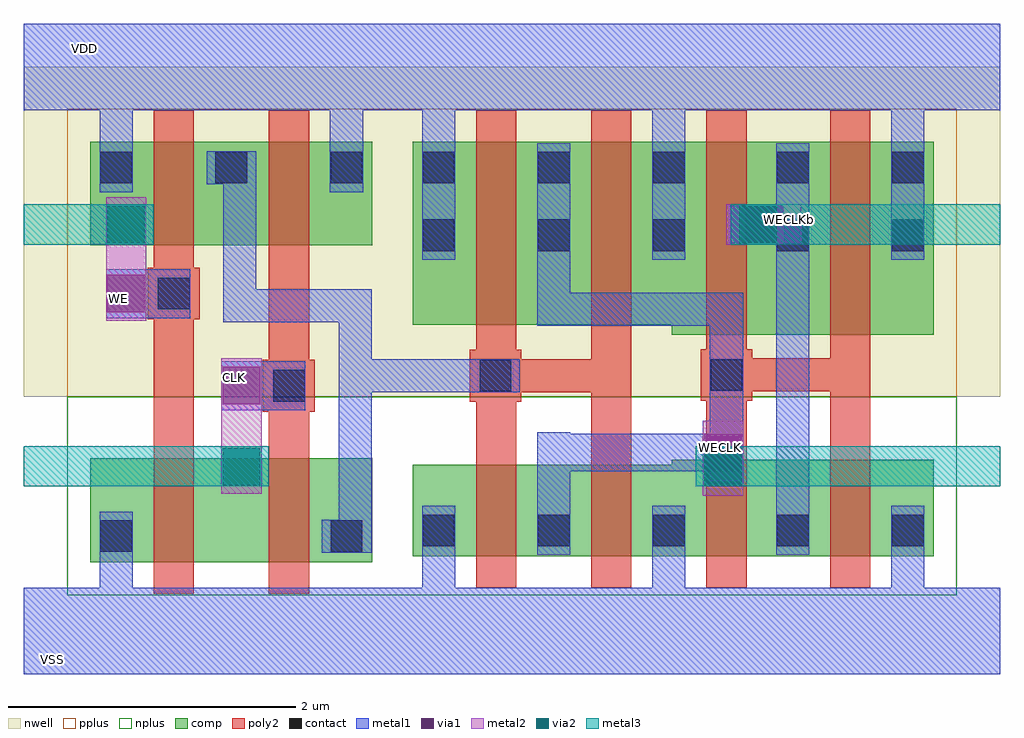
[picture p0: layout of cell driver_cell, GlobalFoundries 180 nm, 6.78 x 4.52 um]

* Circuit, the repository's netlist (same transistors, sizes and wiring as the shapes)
* Extracted by KLayout with GF180MCU LVS runset on : 26/02/2026 19:31

.SUBCKT driver_cell VSS WECLKb CLK WECLK WE VDD
M$1 \$4 WE VDD VDD pfet_03v3 L=0.28U W=0.72U AS=0.3168P AD=0.1872P PS=2.32U
+ PD=1.24U
M$2 VDD CLK \$4 VDD pfet_03v3 L=0.28U W=0.72U AS=0.1872P AD=0.3168P PS=1.24U
+ PD=2.32U
M$3 WECLK \$4 VDD VDD pfet_03v3 L=0.28U W=2.54U AS=0.8974P AD=0.6604P PS=5.28U
+ PD=3.58U
M$5 WECLKb WECLK VDD VDD pfet_03v3 L=0.28U W=2.68U AS=0.7272P AD=0.9782P
+ PS=3.78U PD=5.48U
M$7 WECLK \$4 VSS VSS nfet_03v3 L=0.28U W=1.27U AS=0.4445P AD=0.3344P PS=3.305U
+ PD=2.345U
M$9 WECLKb WECLK VSS VSS nfet_03v3 L=0.28U W=1.34U AS=0.3636P AD=0.4891P
+ PS=2.44U PD=3.47U
M$11 \$8 WE VSS VSS nfet_03v3 L=0.28U W=0.72U AS=0.3168P AD=0.1872P PS=2.32U
+ PD=1.24U
M$12 \$4 CLK \$8 VSS nfet_03v3 L=0.28U W=0.72U AS=0.1872P AD=0.3168P PS=1.24U
+ PD=2.32U
.ENDS driver_cell

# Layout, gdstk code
import gdstk
lib = gdstk.Library(unit=1e-6, precision=5e-09)
def R(c, l, rs):  # rectangles x0, y0, x1, y1
    for r in rs: c.add(gdstk.rectangle(r[:2], r[2:], *l))
def A(c, l, x, y, w, h, nx, ny, dx, dy):  # array of equal rectangles
    R(c, l, [(x+i*dx, y+j*dy, x+i*dx+w, y+j*dy+h) for i in range(nx) for j in range(ny)])
nwell = (21, 0)
comp = (22, 0)
poly2 = (30, 0)
pplus = (31, 0)
nplus = (32, 0)
contact = (33, 0)
metal1 = (34, 0)
via1 = (35, 0)
metal2 = (36, 0)
via2 = (38, 0)
metal3 = (42, 0)

driver_cell = lib.new_cell('driver_cell')
R(driver_cell, nwell, [(-5.005,-1.61,1.775,0.68)])
R(driver_cell, comp, [(-4.545,-2.76,-2.585,-2.04), (-2.305,-2.72,-0.505,-2.085), (-0.505,-2.72,1.315,-2.05), (-0.505,-1.18,1.315,0.16), (-2.305,-1.11,-0.505,0.16), (-4.545,-0.56,-2.585,0.16)])
A(driver_cell, poly2, -1.865, -2.94, 0.28, 3.32, 3, 1, 0.8, 0)
R(driver_cell, poly2, [(-4.105,-2.98,-3.825,0.38), (-3.305,-2.98,-3.025,0.38), (0.595,-2.94,0.875,0.38), (-3.345,-1.715,-2.985,-1.355), (-1.91,-1.645,-1.55,-1.285), (-0.305,-1.64,0.055,-1.28), (-1.59,-1.58,-1.065,-1.35), (0.015,-1.575,0.595,-1.345), (-4.145,-1.075,-3.785,-0.715)])
R(driver_cell, pplus, [(-4.705,-1.61,1.475,0.39)])
R(driver_cell, nplus, [(-4.705,-2.99,1.475,-1.61)])
A(driver_cell, contact, -2.235, -2.65, 0.22, 0.22, 3, 2, 0.8, 2.05)
A(driver_cell, contact, -4.475, -0.13, 0.22, 0.22, 3, 1, 0.8, 0)
A(driver_cell, contact, -2.235, -0.13, 0.22, 0.22, 3, 1, 0.8, 0)
R(driver_cell, contact, [(-4.475,-2.69,-4.255,-2.47), (-2.875,-2.69,-2.655,-2.47), (0.225,-2.65,0.445,-2.43), (1.025,-2.65,1.245,-2.43), (-3.275,-1.645,-3.055,-1.425), (-1.84,-1.575,-1.62,-1.355), (-0.235,-1.57,-0.015,-1.35), (-4.075,-1.005,-3.855,-0.785), (0.225,-0.6,0.445,-0.38), (1.025,-0.6,1.245,-0.38), (0.225,-0.13,0.445,0.09), (1.025,-0.13,1.245,0.09)])
R(driver_cell, metal1, [(-5.005,-3.54,1.775,-2.94), (-4.48,-2.94,-4.25,-2.41), (-2.24,-2.94,-2.01,-2.37), (-0.64,-2.94,-0.41,-2.37), (1.02,-2.94,1.25,-2.37), (-1.44,-2.71,-1.21,-1.86), (0.22,-2.71,0.45,0.15), (-2.935,-2.695,-2.59,-2.465), (-2.82,-2.465,-2.59,-0.865), (-0.24,-2.195,-0.01,-0.89), (-1.21,-2.13,-0.24,-1.87), (-3.635,-1.705,-3.05,-1.365), (-2.59,-1.58,-1.56,-1.35), (-1.44,-1.12,-1.21,0.15), (-1.21,-1.12,-0.24,-0.89), (-3.62,-1.095,-3.39,-0.135), (-3.39,-1.095,-2.82,-0.865), (-4.435,-1.065,-3.85,-0.725), (-2.24,-0.66,-2.01,0.38), (-0.64,-0.66,-0.41,0.38), (1.02,-0.66,1.25,0.38), (-0.11,-0.545,0.45,-0.285), (-4.48,-0.19,-4.25,0.38), (-2.88,-0.19,-2.65,0.38), (-3.735,-0.135,-3.39,0.095), (-5.005,0.38,1.775,0.98)])
R(driver_cell, via1, [(-0.28,-2.13,-0.02,-1.87), (-3.625,-1.665,-3.365,-1.405), (-4.425,-1.025,-4.165,-0.765), (0.01,-0.545,0.27,-0.285)])
R(driver_cell, metal2, [(-0.29,-2.3,-0.01,-1.78), (-3.635,-2.285,-3.355,-1.345), (-4.435,-1.085,-4.155,-0.225), (-0.125,-0.555,0.395,-0.275)])
R(driver_cell, via2, [(-3.625,-2.225,-3.365,-1.965), (-0.28,-2.225,-0.02,-1.965), (-4.425,-0.545,-4.165,-0.285), (-0.035,-0.545,0.225,-0.285)])
R(driver_cell, metal3, [(-5.005,-2.235,-3.305,-1.955), (-0.34,-2.235,1.775,-1.955), (-5.005,-0.555,-4.105,-0.275), (-0.095,-0.555,1.775,-0.275)])
driver_cell.add(gdstk.Label('WE', (-4.35,-0.93), layer=34, texttype=10))
driver_cell.add(gdstk.Label('WECLKb', (0.315,-0.38), layer=34, texttype=10))
driver_cell.add(gdstk.Label('WECLK', (-0.165,-1.965), layer=34, texttype=10))
driver_cell.add(gdstk.Label('CLK', (-3.545,-1.475), layer=34, texttype=10))
driver_cell.add(gdstk.Label('VDD', (-4.585,0.81), layer=34, texttype=10))
driver_cell.add(gdstk.Label('VSS', (-4.81,-3.435), layer=34, texttype=10))

lib.write_gds('driver_cell.gds')
